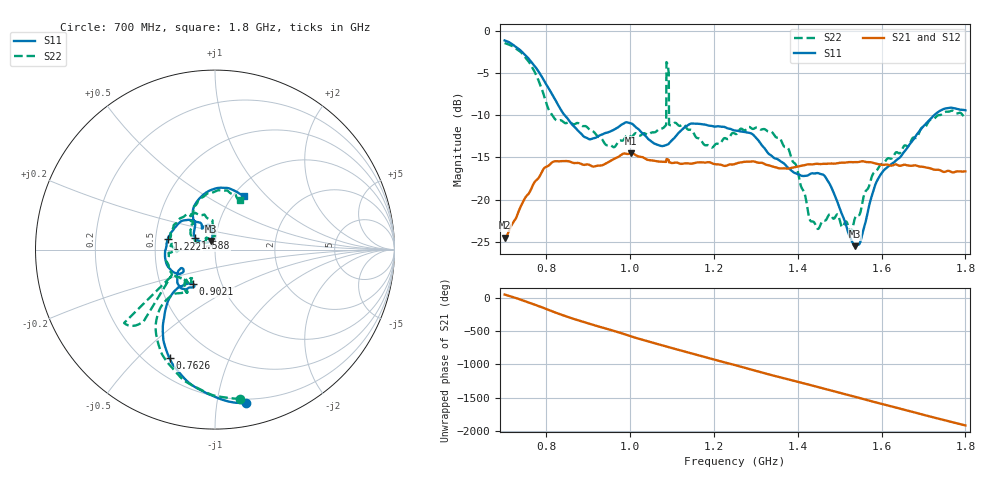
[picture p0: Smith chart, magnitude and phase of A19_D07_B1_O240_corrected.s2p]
! Created with skrf 1.9.0 (http://scikit-rf.org).
# Hz S RI R 50.0
!freq ReS11 ImS11 ReS21 ImS21 ReS12 ImS12 ReS22 ImS22
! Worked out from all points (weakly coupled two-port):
!   1601 points, 700 MHz to 1.8 GHz, reference 50 ohm
!   highest |S21| = -14.50 dB at 1.002 GHz (marker M1); lowest = -24.5 dB at 700.7 MHz (marker M2)
!   lowest |S11| = -25.5 dB at 1.536 GHz (marker M3), VSWR 1.11, Z = 47.5 + j4.57 ohm
!   |S11| at or under -10 dB: 843.2 MHz to 1.726 GHz (882.5 MHz wide, 68.7 % of centre)
!   |S22| runs from -23.9 to -1.5 dB; largest |S21 - S12| = 0.0035
!   S11 on the Smith chart (normalised r, x): 700 MHz: 0.17, -1.21; 762.6 MHz: 0.29, -0.63; 902.1 MHz: 0.73, -0.30; 1.222 GHz: 0.58, +0.07; 1.588 GHz: 0.80, +0.10; 1.8 GHz: 1.12, +0.75
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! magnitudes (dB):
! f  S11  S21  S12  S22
! 700 MHz  -1.2  -24.5  -24.3  -1.5
! 700.7 MHz  -1.2  -24.5  -24.2  -1.5
! 762.6 MHz  -3.7  -18.8  -18.8  -4.1
! 818.9 MHz  -8.0  -15.5  -15.6  -10.4
! 883.6 MHz  -12.2  -15.8  -15.7  -11.2
! 902.1 MHz  -12.9  -15.9  -15.9  -11.7
! 1.002 GHz  -11.0  -14.5  -14.6  -12.6
! 1.067 GHz  -13.5  -15.5  -15.4  -11.7
! 1.08 GHz  -13.6  -15.5  -15.6  -11.5
! 1.086 GHz  -13.5  -15.2  -15.2  -3.7
! 1.092 GHz  -13.4  -15.3  -15.3  -5.0
! 1.098 GHz  -13.0  -15.7  -15.6  -11.2
! 1.222 GHz  -11.4  -16.0  -16.0  -12.8
! 1.25 GHz  -11.8  -15.8  -15.7  -12.2
! 1.357 GHz  -15.4  -16.3  -16.2  -12.7
! 1.434 GHz  -16.9  -15.8  -15.8  -22.6
! 1.472 GHz  -17.8  -15.7  -15.7  -22.0
! 1.536 GHz  -25.5  -15.6  -15.6  -22.2
! 1.588 GHz  -17.9  -15.7  -15.7  -16.6
! 1.617 GHz  -16.0  -15.9  -15.9  -15.1
! 1.733 GHz  -9.7  -16.5  -16.5  -10.1
! 1.8 GHz  -9.4  -16.6  -16.6  -10.2
